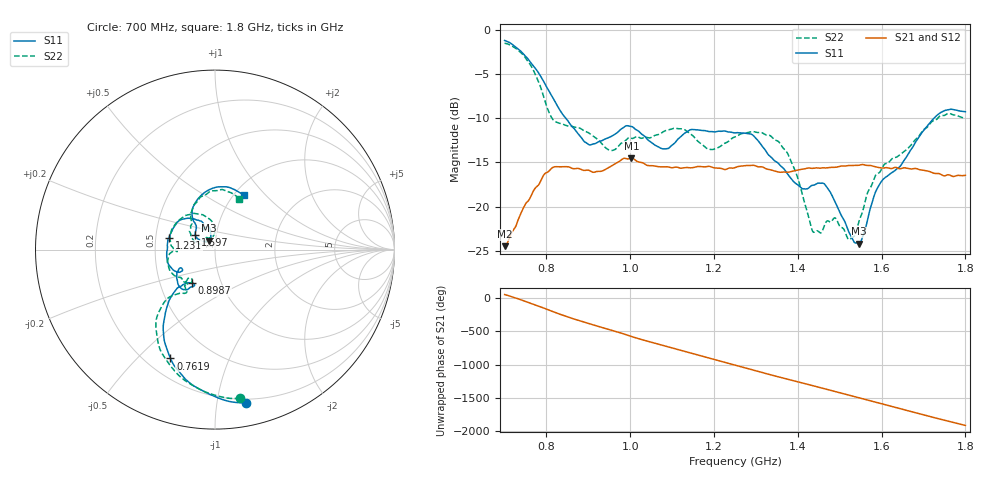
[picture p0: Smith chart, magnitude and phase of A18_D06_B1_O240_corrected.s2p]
! Created with skrf 1.9.0 (http://scikit-rf.org).
# Hz S RI R 50.0
!freq ReS11 ImS11 ReS21 ImS21 ReS12 ImS12 ReS22 ImS22
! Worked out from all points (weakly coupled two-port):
!   1601 points, 700 MHz to 1.8 GHz, reference 50 ohm
!   highest |S21| = -14.52 dB at 1.002 GHz (marker M1); lowest = -24.5 dB at 700 MHz (marker M2)
!   lowest |S11| = -24.2 dB at 1.546 GHz (marker M3), VSWR 1.13, Z = 46.4 + j4.71 ohm
!   |S11| at or under -10 dB: 846.1 MHz to 1.725 GHz (878.9 MHz wide, 68.4 % of centre)
!   |S22| runs from -23.7 to -1.5 dB; largest |S21 - S12| = 0.0035
!   S11 on the Smith chart (normalised r, x): 700 MHz: 0.17, -1.21; 761.9 MHz: 0.30, -0.63; 898.7 MHz: 0.73, -0.28; 1.231 GHz: 0.59, +0.09; 1.597 GHz: 0.79, +0.13; 1.8 GHz: 1.12, +0.77
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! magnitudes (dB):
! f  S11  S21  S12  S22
! 700 MHz  -1.2  -24.5  -24.3  -1.5
! 761.9 MHz  -3.7  -18.9  -18.9  -4.0
! 815.5 MHz  -7.7  -15.6  -15.6  -10.2
! 883.6 MHz  -12.2  -15.8  -15.7  -11.2
! 898.7 MHz  -12.9  -15.9  -15.9  -11.6
! 953 MHz  -12.1  -15.5  -15.5  -13.7
! 1.002 GHz  -10.9  -14.5  -14.6  -12.3
! 1.067 GHz  -13.2  -15.5  -15.4  -11.8
! 1.231 GHz  -11.5  -15.8  -15.7  -12.7
! 1.25 GHz  -11.7  -15.6  -15.5  -12.1
! 1.292 GHz  -11.9  -15.3  -15.4  -11.5
! 1.356 GHz  -15.2  -16.1  -16.0  -12.7
! 1.394 GHz  -17.4  -15.9  -15.9  -16.0
! 1.434 GHz  -17.6  -15.7  -15.6  -22.6
! 1.467 GHz  -17.6  -15.6  -15.6  -21.8
! 1.49 GHz  -19.6  -15.5  -15.5  -21.3
! 1.524 GHz  -23.1  -15.3  -15.3  -23.7
! 1.546 GHz  -24.2  -15.3  -15.3  -21.6
! 1.597 GHz  -17.4  -15.6  -15.6  -16.1
! 1.617 GHz  -16.4  -15.6  -15.6  -15.0
! 1.733 GHz  -9.6  -16.3  -16.3  -10.0
! 1.8 GHz  -9.3  -16.5  -16.5  -10.0
